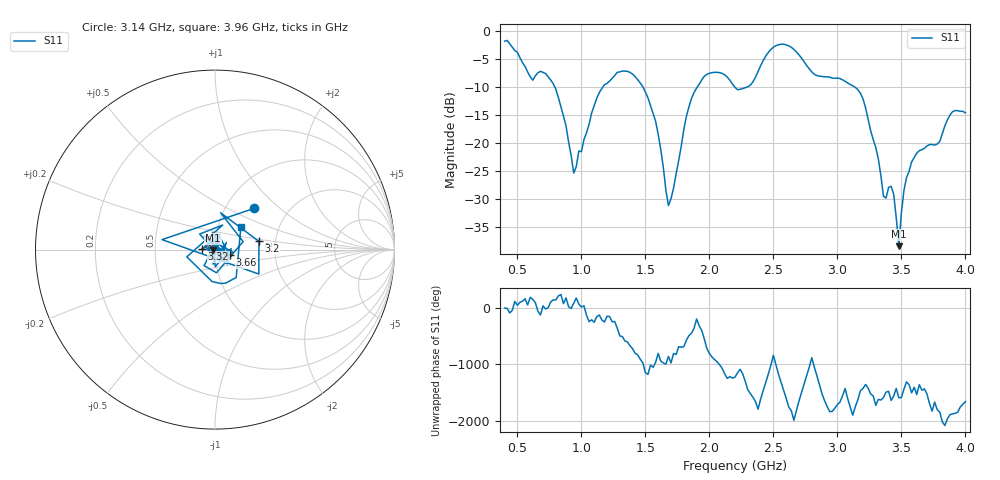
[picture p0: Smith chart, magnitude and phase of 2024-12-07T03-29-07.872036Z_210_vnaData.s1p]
!Created with skrf (http://scikit-rf.org).
# Hz S RI R 50.0
!freq ReS11 ImS11
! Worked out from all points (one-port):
!   181 points, 400 MHz to 4 GHz, reference 50 ohm
!   lowest |S11| = -38.3 dB at 3.48 GHz (marker M1), VSWR 1.02, Z = 48.9 - j0.48 ohm
!   |S11| at or under -10 dB: 793 MHz to 1.166 GHz (373.3 MHz wide, 38.1 % of centre); 1.482 GHz to 1.905 GHz (422.9 MHz wide, 25 % of centre); 3.138 GHz to end of sweep (the widest 3 of 4)
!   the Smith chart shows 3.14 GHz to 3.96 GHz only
!   S11 on the Smith chart (normalised r, x): 3.14 GHz: 1.35, +0.69; 3.2 GHz: 1.64, +0.16; 3.32 GHz: 0.87, +0.01; 3.66 GHz: 1.18, -0.08; 3.96 GHz: 1.29, +0.34
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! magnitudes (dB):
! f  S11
! 400 MHz  -1.8
! 620 MHz  -8.7
! 760 MHz  -8.7
! 860 MHz  -15.2
! 940 MHz  -25.3
! 1.14 GHz  -11.0
! 1.3 GHz  -7.3
! 1.52 GHz  -11.9
! 1.6 GHz  -18.4
! 1.68 GHz  -31.1
! 1.76 GHz  -23.1
! 1.84 GHz  -13.5
! 1.96 GHz  -8.1
! 2.2 GHz  -10.0
! 2.5 GHz  -2.9
! 2.66 GHz  -3.3
! 3.1 GHz  -9.5
! 3.14 GHz  -10.0
! 3.2 GHz  -12.1
! 3.32 GHz  -22.8
! 3.36 GHz  -29.4
! 3.44 GHz  -29.1
! 3.48 GHz  -38.3
! 3.52 GHz  -28.4
! 3.56 GHz  -25.0
! 3.66 GHz  -21.1
! 3.96 GHz  -14.3
! 4 GHz  -14.6
